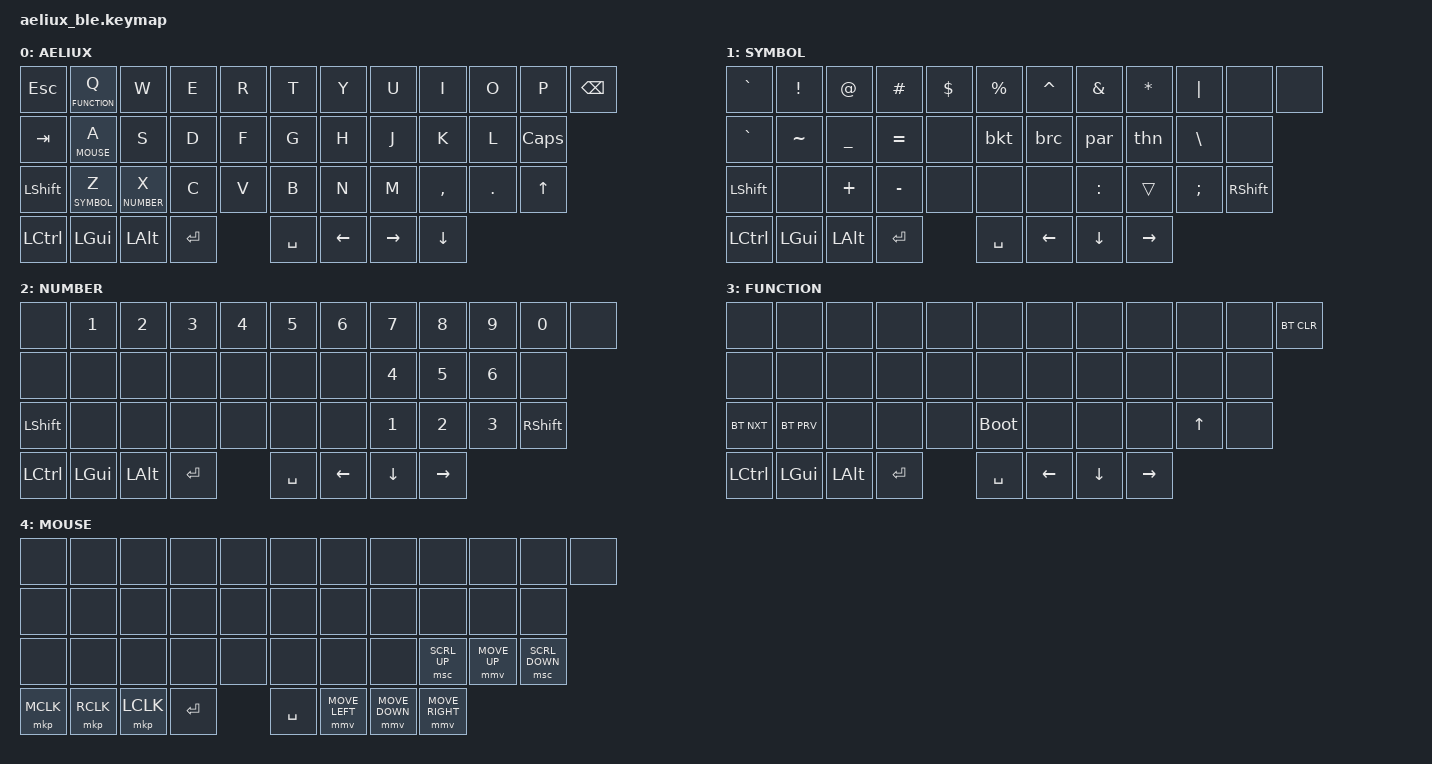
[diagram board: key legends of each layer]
/*
 * Copyright (c) 2025 miketronic
 * SPDX-License-Identifier: MIT
 * AELIUX BLE
 */

#define ZMK_POINTING_DEFAULT_MOVE_VAL 500
#define ZMK_POINTING_DEFAULT_SCRL_VAL 20

#include <behaviors.dtsi>
#include <input/processors.dtsi>
#include <zephyr/dt-bindings/input/input-event-codes.h>
#include <dt-bindings/zmk/keys.h>
#include <dt-bindings/zmk/bt.h>
#include <dt-bindings/zmk/outputs.h>
#include <dt-bindings/zmk/pointing.h>

#define ALPHA       0
#define SYMBOL      1
#define NUMBER      2
#define FUNCTION    3
#define MOUSE       4

#define FUNQ   &lt FUNCTION Q
#define NUMX   &lt NUMBER X
#define SYMZ   &lt SYMBOL Z
#define MSEA   &lt MOUSE A

#define MM_U &mmv MOVE_UP
#define MM_D &mmv MOVE_DOWN
#define MM_R &mmv MOVE_RIGHT
#define MM_L &mmv MOVE_LEFT

#define MS_U &msc SCRL_UP
#define MS_D &msc SCRL_DOWN
#define MS_R &msc SCRL_RIGHT
#define MS_L &msc SCRL_LEFT

#define MCK  &mkp MCLK  
#define RCK  &mkp RCLK  
#define LCK  &mkp LCLK 

&mmv_input_listener {
        standard {
            layers = <MOUSE>;
            input-processors = <&zip_xy_scaler 3 1>;
        };
};

&mmv {
    x-input-code = <INPUT_REL_X>;
    y-input-code = <INPUT_REL_Y>;
    time-to-max-speed-ms = <200>;
    acceleration-exponent = <1>;
};

&mt {
    tapping-term-ms = <160>;
};

&lt {
    tapping-term-ms = <150>;
};


/ {
    combos {

        compatible = "zmk,combos";
        combo_bootloader {
            timeout-ms = <100>;
            key-positions = <0 11>;
            bindings = <&bootloader>;
        };
    };

    behaviors {

        bkt: tap_dance_bracket {
            compatible = "zmk,behavior-tap-dance";
            #binding-cells = <0>;
            tapping-term-ms = <200>;
            bindings = <&kp LBKT>, <&kp RBKT>;
        };

        brc: tap_dance_brace {
            compatible = "zmk,behavior-tap-dance";
            #binding-cells = <0>;
            tapping-term-ms = <200>;
            bindings = <&kp LBRC>, <&kp RBRC>;
        };

        par: tap_dance_paren {
            compatible = "zmk,behavior-tap-dance";
            #binding-cells = <0>;
            tapping-term-ms = <200>;
            bindings = <&kp LPAR>, <&kp RPAR>;
        };

        thn: tap_dance_then {
            compatible = "zmk,behavior-tap-dance";
            #binding-cells = <0>;
            tapping-term-ms = <200>;
            bindings = <&kp LT>, <&kp GT>;
        };

        hrm: homerow_mods {
           compatible = "zmk,behavior-hold-tap";
           #binding-cells = <2>;
           tapping-term-ms = <250>;
           quick-tap-ms = <0>;
           flavor = "tap-preferred";
           bindings = <&kp>, <&kp>;

        };

    };



    keymap {
        compatible = "zmk,keymap";

       ALPHA_layer {
            display-name = "AELIUX";  
            bindings = <
                &kp ESC   FUNQ    &kp W   &kp E   &kp R   &kp T   &kp Y   &kp U   &kp I     &kp O   &kp P    &kp BSPC
                &kp TAB   MSEA    &kp S   &kp D   &kp F   &kp G   &kp H   &kp J   &kp K     &kp L   &kp CAPS
                &kp LSHFT SYMZ    NUMX    &kp C   &kp V   &kp B   &kp N   &kp M   &kp COMMA   &kp DOT  &kp UP
                &kp LCTRL &kp LGUI &kp LALT &kp RET  &kp SPACE &kp LEFT &kp RIGHT &kp DOWN
            >;
        };

        SYMBOL_layer {
            display-name = "SYMBOL";  
            bindings = <
                &kp GRAVE &kp EXCL  &kp AT    &kp HASH  &kp DLLR &kp PRCNT &kp CARET &kp AMPS &kp STAR &kp PIPE &none &none
                &kp GRAVE &kp TILDE &kp UNDER &kp EQUAL &none    &bkt  &brc  &par      &thn   &kp BSLH &none
                &kp LSHFT     &none &kp PLUS  &kp MINUS &none    &none &none &kp COLON &trans &kp SEMI &kp RSHFT
                &kp LCTRL &kp LGUI &kp LALT &kp RET  &kp SPACE &kp LEFT &kp DOWN &kp RIGHT
            >;
        };

        NUMBER_layer {
            display-name = "NUMBER";  
            bindings = <
                &none &kp N1 &kp N2 &kp N3 &kp N4 &kp N5 &kp N6 &kp N7 &kp N8 &kp N9 &kp N0 &none
                &none &none &none &none &none &none &none &kp N4 &kp N5 &kp N6 &none
                &kp LSHFT &none &none &none &none &none &none &kp N1 &kp N2 &kp N3 &kp RSHFT 
                &kp LCTRL &kp LGUI &kp LALT &kp RET  &kp SPACE &kp LEFT &kp DOWN &kp RIGHT
            >;
        };

        FUNCTION_layer {
            display-name = "FUNCTION";  
            bindings = <
                &none  &none  &none  &none  &none  &none  &none  &none  &none &none &none &bt BT_CLR
                &none  &none  &none  &none  &none  &none  &none  &none  &none &none &none 
                &bt BT_NXT  &bt BT_PRV  &none  &none  &none  &bootloader  &none  &none  &none &kp UP &none 
                &kp LCTRL &kp LGUI &kp LALT &kp RET  &kp SPACE &kp LEFT &kp DOWN &kp RIGHT
            >;
        };

        MOUSE_layer {
            display-name = "MOUSE";  
            bindings = <
                &none  &none  &none  &none  &none  &none  &none  &none  &none &none &none &none 
                &none  &none  &none  &none  &none  &none  &none  &none  &none &none &none 
                &none  &none  &none  &none  &none  &none  &none  &none  MS_U MM_U MS_D 
                MCK  RCK  LCK               &kp RET  &kp SPACE          MM_L MM_D MM_R
            >;
        };

    };
};
